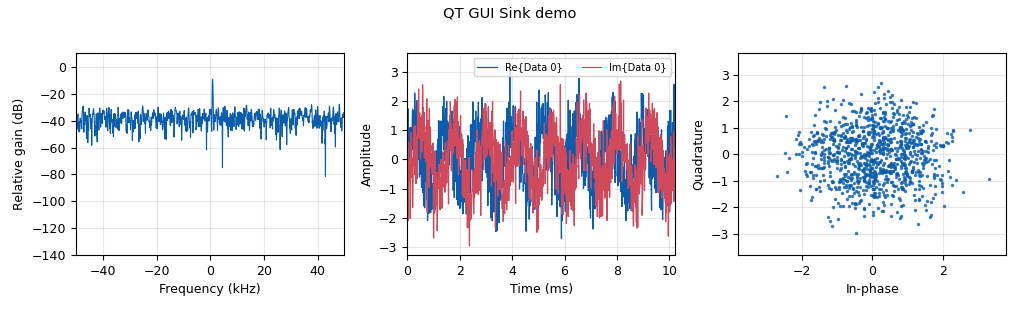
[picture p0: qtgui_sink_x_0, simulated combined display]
options:
  parameters:
    description: GUI Sink demo
    generate_options: qt_gui
    id: gui_sink
    output_language: cpp
    title: QT GUI Sink
  states: {}

blocks:
- name: check_box
  id: variable_qtgui_check_box
  parameters:
    'false': '0'
    gui_hint: 1,0
    label: Add noise
    'true': '1'
    type: int
    value: '1'
  states: {}
- name: freq
  id: variable_qtgui_entry
  parameters:
    gui_hint: 0,0
    label: Frequency
    type: int
    value: '800'
  states: {}
- name: samp_rate
  id: variable
  parameters:
    value: '100000'
  states: {}
- name: analog_noise_source_x_0
  id: analog_noise_source_x
  parameters:
    amp: check_box
    noise_type: analog.GR_GAUSSIAN
    seed: '0'
    type: complex
  states: {}
- name: analog_sig_source_x_0
  id: analog_sig_source_x
  parameters:
    amp: '1'
    freq: freq
    offset: '0'
    phase: '0'
    samp_rate: samp_rate
    type: complex
    waveform: analog.GR_COS_WAVE
  states: {}
- name: blocks_add_xx_0
  id: blocks_add_xx
  parameters:
    type: complex
  states: {}
- name: blocks_throttle2_0
  id: blocks_throttle2
  parameters:
    samples_per_second: samp_rate
    type: complex
  states: {}
- name: qtgui_sink_x_0
  id: qtgui_sink_x
  parameters:
    bw: samp_rate
    fc: '0'
    fftsize: '1024'
    name: QT GUI Sink demo
    type: complex
  states: {}

connections:
- [analog_noise_source_x_0, '0', blocks_add_xx_0, '1']
- [analog_sig_source_x_0, '0', blocks_throttle2_0, '0']
- [blocks_add_xx_0, '0', qtgui_sink_x_0, '0']
- [blocks_throttle2_0, '0', blocks_add_xx_0, '0']

metadata:
  file_format: 1
  grc_version: 3.10.10.0
